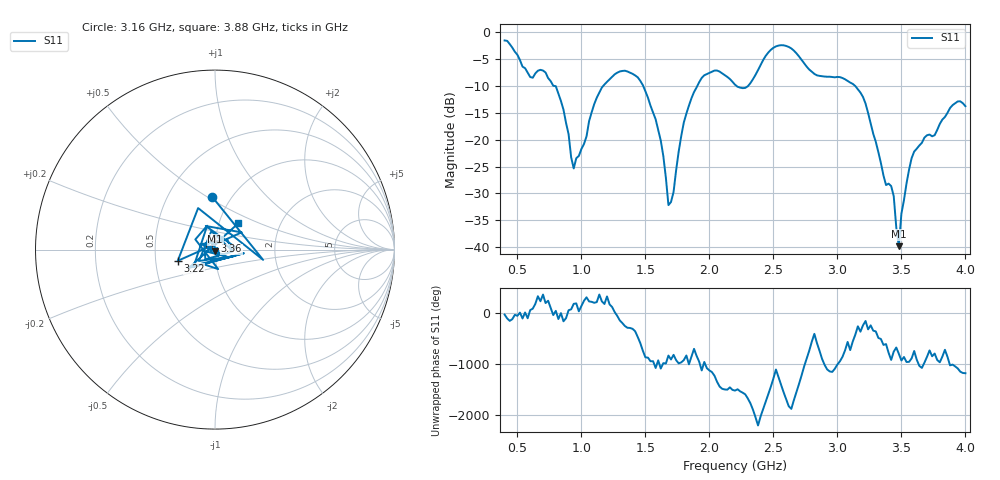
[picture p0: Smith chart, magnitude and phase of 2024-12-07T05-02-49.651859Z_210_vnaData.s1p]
!Created with skrf (http://scikit-rf.org).
# Hz S RI R 50.0
!freq ReS11 ImS11
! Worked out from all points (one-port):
!   181 points, 400 MHz to 4 GHz, reference 50 ohm
!   lowest |S11| = -39.8 dB at 3.48 GHz (marker M1), VSWR 1.02, Z = 50.1 - j1.02 ohm
!   |S11| at or under -10 dB: 788.5 MHz to 1.17 GHz (382 MHz wide, 39 % of centre); 1.483 GHz to 1.906 GHz (423 MHz wide, 25 % of centre); 3.139 GHz to end of sweep (the widest 3 of 4)
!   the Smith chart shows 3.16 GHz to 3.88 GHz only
!   S11 on the Smith chart (normalised r, x): 3.16 GHz: 0.82, +0.53; 3.22 GHz: 0.65, -0.09; 3.36 GHz: 1.00, +0.09; 3.88 GHz: 1.24, +0.38
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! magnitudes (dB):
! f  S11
! 400 MHz  -1.5
! 600 MHz  -8.3
! 720 MHz  -7.5
! 860 MHz  -14.4
! 940 MHz  -25.4
! 1.12 GHz  -12.2
! 1.3 GHz  -7.3
! 1.52 GHz  -12.2
! 1.62 GHz  -20.2
! 1.68 GHz  -32.2
! 1.72 GHz  -29.7
! 1.76 GHz  -22.2
! 1.82 GHz  -15.2
! 1.94 GHz  -8.5
! 2.2 GHz  -9.8
! 2.3 GHz  -10.1
! 2.5 GHz  -2.9
! 2.66 GHz  -3.4
! 3.1 GHz  -9.4
! 3.16 GHz  -10.6
! 3.22 GHz  -13.3
! 3.36 GHz  -26.7
! 3.44 GHz  -30.5
! 3.48 GHz  -39.8
! 3.5 GHz  -33.8
! 3.56 GHz  -25.6
! 3.88 GHz  -14.1
! 4 GHz  -13.8
